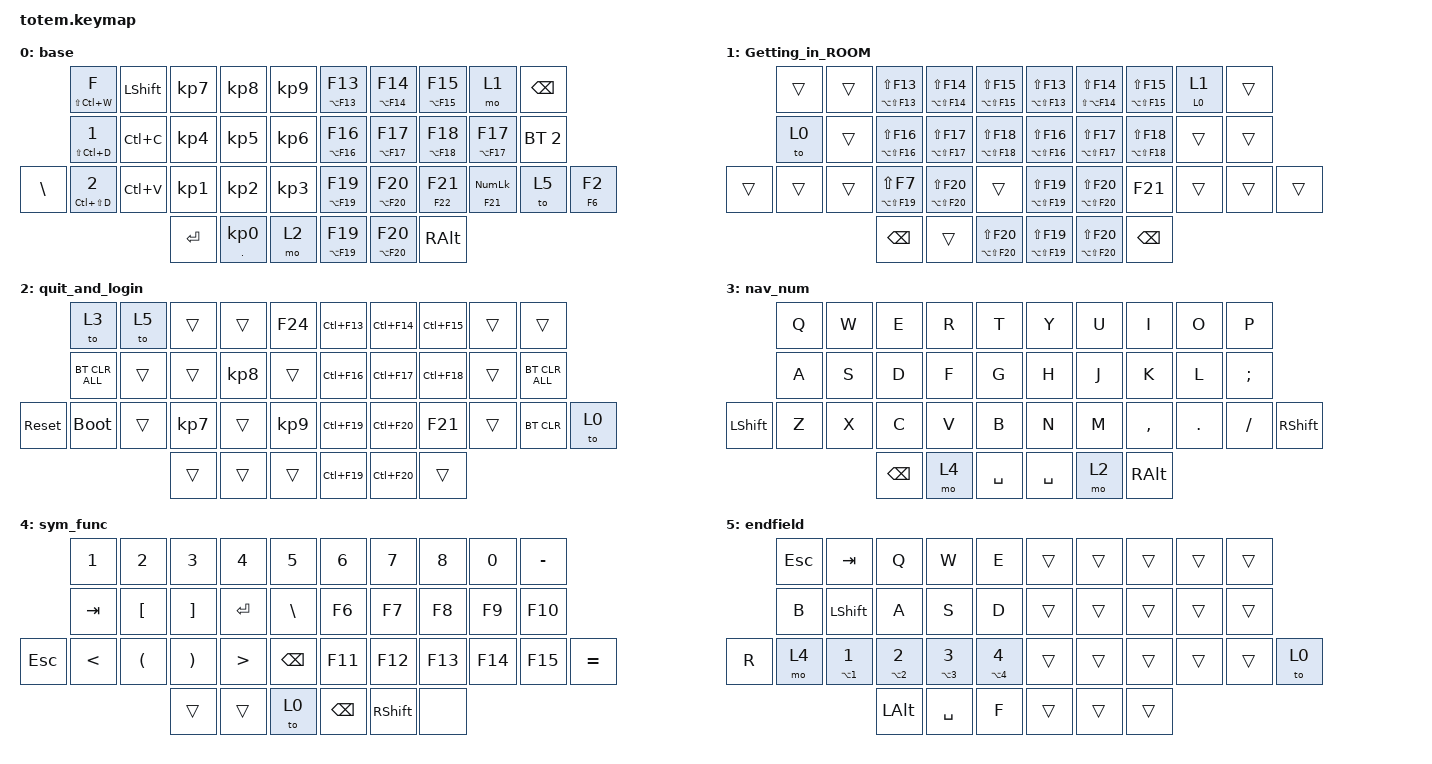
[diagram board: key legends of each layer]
#include <behaviors.dtsi>
#include <dt-bindings/zmk/bt.h>
#include <dt-bindings/zmk/keys.h>

/ {
    combos {
        compatible = "zmk,combos";

        Number1 {
            bindings = <&Hold_on_Bitch LA(F13) F13>;
            key-positions = <15 6>;
        };

        Number3 {
            bindings = <&Hold_on_Bitch LA(F15) F15>;
            key-positions = <6 17>;
        };

        QTbet {
            bindings = <&kp KP_NUMBER_7>;
            key-positions = <23 13>;
        };

        Fullbet {
            bindings = <&kp KP_NUMBER_9>;
            key-positions = <13 14>;
        };

        Number8 {
            bindings = <&Hold_on_Bitch LA(F20) F20>;
            key-positions = <15 17>;
        };

        Number7 {
            bindings = <&Hold_on_Bitch F21 F17>;
            key-positions = <18 15>;
        };

        Number7mk2 {
            bindings = <&kp F21>;
            key-positions = <18 17>;
        };

        Number5 {
            bindings = <&kp KP_NUMBER_8>;
            key-positions = <23 22>;
        };
    };

    behaviors {
        Hold_on_Bitch: a {
            compatible = "zmk,behavior-hold-tap";
            label = "ah";
            bindings = <&kp>, <&kp>;

            #binding-cells = <2>;
            tapping-term-ms = <300>;
            flavor = "tap-preferred";
        };

        Long_holding: Long_holding {
            compatible = "zmk,behavior-hold-tap";
            label = "LONG_HOLDING";
            bindings = <&kp>, <&kp>;

            #binding-cells = <2>;
            tapping-term-ms = <1000>;
            flavor = "tap-preferred";
        };

        layermove: layermove {
            compatible = "zmk,behavior-hold-tap";
            label = "LAYERMOVE";
            bindings = <&to>, <&tog>;

            #binding-cells = <2>;
            tapping-term-ms = <250>;
            flavor = "tap-preferred";
        };
    };

    macros {
        new_macro: new_macro {
            compatible = "zmk,behavior-macro";
            #binding-cells = <0>;
            bindings = <&none>;
            label = "NEW_MACRO";
        };
    };

    keymap {
        compatible = "zmk,keymap";

        base {
            bindings = <
               &Long_holding LS(LC(W)) F         &kp LEFT_SHIFT  &kp KP_NUMBER_7  &kp KP_NUMBER_8                 &kp KP_NUMBER_9    &Hold_on_Bitch LA(F13) F13  &Hold_on_Bitch LA(F14) F14  &Hold_on_Bitch LA(F15) F15  &mo 1                         &kp BACKSPACE
               &Long_holding LS(LC(D)) NUMBER_1  &kp LC(C)       &kp KP_NUMBER_4  &kp KP_NUMBER_5                 &kp KP_NUMBER_6    &Hold_on_Bitch LA(F16) F16  &Hold_on_Bitch LA(F17) F17  &Hold_on_Bitch LA(F18) F18  &Hold_on_Bitch LA(F17) F17    &bt BT_SEL 2
&kp BACKSLASH  &Long_holding LC(LS(D)) NUMBER_2  &kp LC(V)       &kp KP_NUMBER_1  &kp KP_NUMBER_2                 &kp KP_NUMBER_3    &Hold_on_Bitch LA(F19) F19  &Hold_on_Bitch LA(F20) F20  &Long_holding F22 F21       &Long_holding F21 KP_NUMLOCK  &to 5          &Hold_on_Bitch F6 F2
                                                                 &kp ENTER        &Hold_on_Bitch DOT KP_NUMBER_0  &mo 2              &Hold_on_Bitch LA(F19) F19  &Hold_on_Bitch LA(F20) F20  &kp RIGHT_ALT
            >;
        };

        Getting_in_ROOM {
            bindings = <
        &trans  &trans  &Hold_on_Bitch LA(LS(F13)) LS(F13)  &Hold_on_Bitch LA(LS(F14)) LS(F14)  &Hold_on_Bitch LA(LS(F15)) LS(F15)    &Hold_on_Bitch LA(LS(F13)) LS(F13)  &Hold_on_Bitch LS(LA(F14)) LS(F14)  &Hold_on_Bitch LA(LS(F15)) LS(F15)  &layermove 0 1  &trans
        &to 0   &trans  &Hold_on_Bitch LA(LS(F16)) LS(F16)  &Hold_on_Bitch LA(LS(F17)) LS(F17)  &Hold_on_Bitch LA(LS(F18)) LS(F18)    &Hold_on_Bitch LA(LS(F16)) LS(F16)  &Hold_on_Bitch LA(LS(F17)) LS(F17)  &Hold_on_Bitch LA(LS(F18)) LS(F18)  &trans          &trans
&trans  &trans  &trans  &Hold_on_Bitch LA(LS(F19)) LS(F7)   &Hold_on_Bitch LA(LS(F20)) LS(F20)  &trans                                &Hold_on_Bitch LA(LS(F19)) LS(F19)  &Hold_on_Bitch LA(LS(F20)) LS(F20)  &kp F21                             &trans          &trans  &trans
                        &kp BACKSPACE                       &trans                              &Hold_on_Bitch LA(LS(F20)) LS(F20)    &Hold_on_Bitch LA(LS(F19)) LS(F19)  &Hold_on_Bitch LA(LS(F20)) LS(F20)  &kp BACKSPACE
            >;
        };

        quit_and_login {
            bindings = <
            &to 3           &to 5   &trans           &trans           &kp F24            &kp LC(F13)  &kp LC(F14)  &kp LC(F15)  &trans  &trans
            &bt BT_CLR_ALL  &trans  &trans           &kp KP_NUMBER_8  &trans             &kp LC(F16)  &kp LC(F17)  &kp LC(F18)  &trans  &bt BT_CLR_ALL
&sys_reset  &bootloader     &trans  &kp KP_NUMBER_7  &trans           &kp KP_NUMBER_9    &kp LC(F19)  &kp LC(F20)  &kp F21      &trans  &bt BT_CLR      &to 0
                                    &trans           &trans           &trans             &kp LC(F19)  &kp LC(F20)  &trans
            >;
        };

        nav_num {
            bindings = <
                &kp Q  &kp W  &kp E          &kp R  &kp T        &kp Y      &kp U  &kp I          &kp O       &kp P
                &kp A  &kp S  &kp D          &kp F  &kp G        &kp H      &kp J  &kp K          &kp L       &kp SEMICOLON
&kp LEFT_SHIFT  &kp Z  &kp X  &kp C          &kp V  &kp B        &kp N      &kp M  &kp COMMA      &kp PERIOD  &kp FSLH       &kp RIGHT_SHIFT
                              &kp BACKSPACE  &mo 4  &kp SPACE    &kp SPACE  &mo 2  &kp RIGHT_ALT
            >;
        };

        sym_func {
            bindings = <
         &kp NUMBER_1   &kp NUMBER_2          &kp NUMBER_3           &kp NUMBER_4      &kp NUMBER_5     &kp NUMBER_6   &kp N7           &kp N8   &kp NUMBER_0  &kp MINUS
         &kp TAB        &kp LBKT              &kp RBKT               &kp ENTER         &kp BSLH         &kp F6         &kp F7           &kp F8   &kp F9        &kp F10
&kp ESC  &kp LESS_THAN  &kp LEFT_PARENTHESIS  &kp RIGHT_PARENTHESIS  &kp GREATER_THAN  &kp BACKSPACE    &kp F11        &kp F12          &kp F13  &kp F14       &kp F15    &kp EQUAL
                                              &trans                 &trans            &to 0            &kp BACKSPACE  &kp RIGHT_SHIFT  &none
            >;
        };

        endfield {
            bindings = <
       &kp ESCAPE  &kp TAB                               &kp Q                                 &kp W                                 &kp E                                   &trans  &trans  &trans  &trans  &trans
       &kp B       &kp LEFT_SHIFT                        &kp A                                 &kp S                                 &kp D                                   &trans  &trans  &trans  &trans  &trans
&kp R  &mo 4       &Hold_on_Bitch LA(NUMBER_1) NUMBER_1  &Hold_on_Bitch LA(NUMBER_2) NUMBER_2  &Hold_on_Bitch LA(NUMBER_3) NUMBER_3  &Hold_on_Bitch LA(NUMBER_4) NUMBER_4    &trans  &trans  &trans  &trans  &trans  &to 0
                                                         &kp LEFT_ALT                          &kp SPACE                             &kp F                                   &trans  &trans  &trans
            >;
        };
    };

    conditional_layers {
        compatible = "zmk,conditional-layers";

        device {
            if-layers = <3 4>;
            then-layer = <5>;
        };
    };
};
